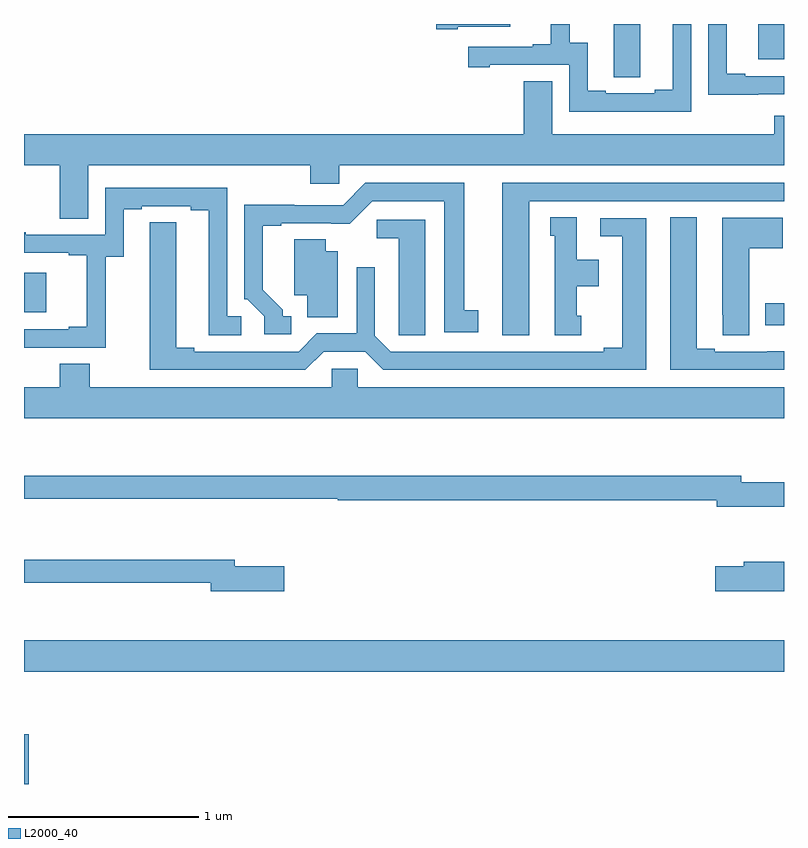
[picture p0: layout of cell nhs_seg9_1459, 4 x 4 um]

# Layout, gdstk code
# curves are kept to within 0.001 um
import gdstk
lib = gdstk.Library(unit=1e-6, precision=1e-09)
def R(c, l, rs):  # rectangles x0, y0, x1, y1
    for r in rs: c.add(gdstk.rectangle(r[:2], r[2:], *l))
def P(c, l, *ps):  # polygons
    for p in ps: c.add(gdstk.Polygon(p, *l))
L2000_40 = (2000, 40)

nhs_seg9_1459 = lib.new_cell('nhs_seg9_1459')
R(nhs_seg9_1459, L2000_40, [(193,1190.5,193.025,1190.761), (193,1191.092,197,1191.256), (196.901,1192.914,197,1193.031), (193,1192.982,193.117,1193.191), (196.865,1194.314,197,1194.5)])
P(nhs_seg9_1459, L2000_40, [(196.243,1194.5),(196.103,1194.5),(196.103,1194.328),(196.104,1194.328),(196.104,1194.22),(196.243,1194.22)],
  [(195.283,1194.485),(195.559,1194.485),(195.559,1194.5),(195.171,1194.5),(195.171,1194.473),(195.283,1194.473)],
  [(196.865,1194.129),(197,1194.129),(197,1194.225),(196.795,1194.225),(196.795,1194.238),(196.699,1194.238),(196.699,1194.5),(196.602,1194.5),(196.602,1194.128),(196.865,1194.128)],
  [(196.512,1194.5),(196.415,1194.5),(196.415,1194.155),(196.319,1194.155),(196.319,1194.135),(196.063,1194.135),(196.063,1194.15),(195.967,1194.15),(195.967,1194.401),(195.873,1194.401),(195.873,1194.5),(195.773,1194.5),(195.773,1194.394),(195.677,1194.394),(195.677,1194.381),(195.339,1194.381),(195.339,1194.273),(195.451,1194.273),(195.451,1194.285),(195.87,1194.285),(195.87,1194.039),(196.512,1194.039)],
  [(193.339,1193.756),(194.507,1193.756),(194.507,1193.658),(194.658,1193.658),(194.658,1193.756),(197,1193.756),(197,1194.018),(196.949,1194.018),(196.949,1193.92),(195.781,1193.92),(195.781,1194.2),(195.629,1194.2),(195.629,1193.92),(193,1193.92),(193,1193.756),(193.187,1193.756),(193.187,1193.476),(193.339,1193.476)],
  [(194.407,1192.962),(194.362,1192.962),(194.362,1192.997),(194.257,1193.102),(194.257,1193.439),(194.353,1193.439),(194.353,1193.451),(194.714,1193.45),(194.832,1193.568),(195.212,1193.568),(195.212,1192.878),(195.391,1192.878),(195.391,1192.994),(195.316,1192.994),(195.316,1193.664),(194.796,1193.664),(194.679,1193.547),(194.423,1193.547),(194.423,1193.549),(194.16,1193.549),(194.16,1193.052),(194.175,1193.052),(194.265,1192.962),(194.265,1192.866),(194.407,1192.866)],
  [(195.658,1193.568),(197,1193.568),(197,1193.664),(195.518,1193.664),(195.518,1192.863),(195.658,1192.863)],
  [(193.431,1193.275),(193.525,1193.275),(193.525,1193.526),(193.621,1193.526),(193.621,1193.541),(193.877,1193.541),(193.877,1193.521),(193.973,1193.521),(193.973,1192.861),(194.143,1192.861),(194.143,1192.962),(194.07,1192.962),(194.07,1193.637),(193.428,1193.637),(193.428,1193.391),(193.009,1193.391),(193.009,1193.404),(193,1193.404),(193,1193.295),(193.235,1193.295),(193.235,1193.283),(193.331,1193.283),(193.331,1192.906),(193.235,1192.906),(193.235,1192.893),(193,1192.893),(193,1192.797),(193.431,1192.797)],
  [(195.934,1192.965),(195.91,1192.965),(195.91,1193.12),(196.024,1193.12),(196.024,1193.26),(195.91,1193.26),(195.91,1193.483),(195.77,1193.483),(195.77,1193.385),(195.794,1193.385),(195.794,1192.863),(195.934,1192.863)],
  [(197,1192.777),(196.912,1192.777),(196.912,1192.776),(196.636,1192.776),(196.636,1192.791),(196.54,1192.791),(196.54,1193.483),(196.4,1193.483),(196.4,1192.68),(197,1192.68)],
  [(196.816,1193.32),(196.993,1193.32),(196.993,1193.479),(196.676,1193.479),(196.676,1192.969),(196.677,1192.969),(196.677,1192.861),(196.816,1192.861)],
  [(194.577,1192.776),(194.795,1192.776),(194.891,1192.68),(196.276,1192.68),(196.276,1193.478),(196.032,1193.478),(196.032,1193.382),(196.148,1193.382),(196.148,1192.796),(196.052,1192.796),(196.052,1192.776),(194.931,1192.776),(194.847,1192.86),(194.847,1193.221),(194.751,1193.221),(194.751,1192.872),(194.541,1192.872),(194.445,1192.776),(193.897,1192.776),(193.897,1192.796),(193.801,1192.796),(193.801,1193.456),(193.662,1193.456),(193.661,1192.68),(194.481,1192.68)],
  [(195.112,1193.469),(194.856,1193.469),(194.856,1193.372),(194.972,1193.372),(194.972,1192.969),(194.973,1192.969),(194.973,1192.861),(195.112,1192.861)],
  [(194.65,1193.305),(194.587,1193.305),(194.587,1193.366),(194.423,1193.366),(194.423,1193.072),(194.492,1193.072),(194.492,1192.957),(194.65,1192.957)],
  [(197,1192.588),(194.757,1192.588),(194.757,1192.686),(194.619,1192.686),(194.619,1192.588),(193.347,1192.588),(193.347,1192.712),(193.187,1192.712),(193.187,1192.588),(193,1192.588),(193,1192.424),(197,1192.424)],
  [(197,1192.089),(196.774,1192.089),(196.774,1192.123),(193,1192.123),(193,1192.002),(194.65,1192.002),(194.65,1191.994),(196.646,1191.994),(196.646,1191.959),(197,1191.959)],
  [(194.371,1191.645),(194.11,1191.645),(194.11,1191.679),(193,1191.679),(193,1191.558),(193.982,1191.558),(193.982,1191.515),(194.371,1191.515)],
  [(197,1191.671),(196.787,1191.671),(196.787,1191.645),(196.638,1191.645),(196.638,1191.515),(197,1191.515)])

lib.write_gds('nhs_seg9_1459.gds')
